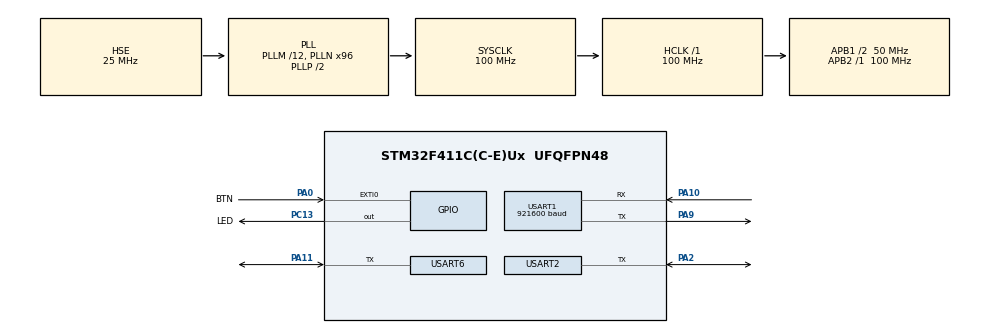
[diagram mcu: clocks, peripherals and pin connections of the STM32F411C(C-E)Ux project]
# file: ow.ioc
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Mcu.Family=STM32F4
Mcu.Name=STM32F411C(C-E)Ux
Mcu.Package=UFQFPN48
NVIC.EXTI0_IRQn=true\:0\:0\:false\:false\:true\:true\:true\:true
NVIC.PriorityGroup=NVIC_PRIORITYGROUP_4
PA0-WKUP.GPIO_Label=BTN
PA0-WKUP.GPIO_ModeDefaultEXTI=GPIO_MODE_IT_FALLING
PA0-WKUP.GPIO_PuPd=GPIO_PULLUP
PA0-WKUP.Signal=GPXTI0
PA10.Mode=Asynchronous
PA10.Signal=USART1_RX
PA11.GPIO_PuPd=GPIO_PULLUP
PA11.Mode=Half_duplex(single_wire_mode)
PA11.Signal=USART6_TX
PA13.Mode=Serial_Wire
PA13.Signal=SYS_JTMS-SWDIO
PA14.Mode=Serial_Wire
PA14.Signal=SYS_JTCK-SWCLK
PA2.GPIO_PuPd=GPIO_PULLUP
PA2.Mode=Half_duplex(single_wire_mode)
PA2.Signal=USART2_TX
PA9.Mode=Asynchronous
PA9.Signal=USART1_TX
PC13-ANTI_TAMP.GPIO_Label=LED
PC13-ANTI_TAMP.GPIO_ModeDefaultOutputPP=GPIO_MODE_OUTPUT_OD
PC13-ANTI_TAMP.GPIO_PuPd=GPIO_NOPULL
PC13-ANTI_TAMP.PinState=GPIO_PIN_SET
PC13-ANTI_TAMP.Signal=GPIO_Output
PH0\ -\ OSC_IN.Mode=HSE-External-Oscillator
PH0\ -\ OSC_IN.Signal=RCC_OSC_IN
PH1\ -\ OSC_OUT.Mode=HSE-External-Oscillator
PH1\ -\ OSC_OUT.Signal=RCC_OSC_OUT
ProjectManager.HeapSize=0x200
ProjectManager.StackSize=0x400
ProjectManager.TargetToolchain=STM32CubeIDE
RCC.48MHZClocksFreq_Value=50000000
RCC.AHBFreq_Value=100000000
RCC.APB1CLKDivider=RCC_HCLK_DIV2
RCC.APB1Freq_Value=50000000
RCC.APB1TimFreq_Value=100000000
RCC.APB2Freq_Value=100000000
RCC.APB2TimFreq_Value=100000000
RCC.CortexFreq_Value=100000000
RCC.HCLKFreq_Value=100000000
RCC.HSE_VALUE=25000000
RCC.HSI_VALUE=16000000
RCC.LSE_VALUE=32768
RCC.PLLM=12
RCC.PLLN=96
RCC.PLLSourceVirtual=RCC_PLLSOURCE_HSE
RCC.SYSCLKFreq_VALUE=100000000
RCC.SYSCLKSource=RCC_SYSCLKSOURCE_PLLCLK
RCC.VCOOutputFreq_Value=200000000
USART1.BaudRate=921600
USART1.VirtualMode=VM_ASYNC
USART2.VirtualMode=VM_ASYNC
USART6.VirtualMode=VM_ASYNC
board=custom

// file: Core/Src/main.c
/* USER CODE BEGIN Header */
/**
 ******************************************************************************
 * @file           : main.c
 * @brief          : Main program body
 ******************************************************************************
 * @attention
 *
 * Copyright (c) 2023 Lars Boegild Thomsen <lbthomsen@gmail.com>
 * All rights reserved.
 *
 * This software is licensed under terms that can be found in the LICENSE file
 * in the root directory of this software component.
 * If no LICENSE file comes with this software, it is provided AS-IS.
 *
 ******************************************************************************
 */
/* USER CODE END Header */
#include "main.h"

UART_HandleTypeDef huart1;
UART_HandleTypeDef huart2;
UART_HandleTypeDef huart6;

void SystemClock_Config(void);
static void MX_GPIO_Init(void);
static void MX_USART1_UART_Init(void);
static void MX_USART2_UART_Init(void);
static void MX_USART6_UART_Init(void);

/* USER CODE BEGIN 0 */

// Send printf to uart1
int _write(int fd, char* ptr, int len) {
  HAL_StatusTypeDef hstatus;

  if (fd == 1 || fd == 2) {
    hstatus = HAL_UART_Transmit(&huart1, (uint8_t *) ptr, len, HAL_MAX_DELAY);
    if (hstatus == HAL_OK)
      return len;
    else
      return -1;
  }
  return -1;
}

/* USER CODE END 0 */

int main(void)
{

  /* MCU Configuration--------------------------------------------------------*/

  /* Reset of all peripherals, Initializes the Flash interface and the Systick. */
  HAL_Init();

  /* Configure the system clock */
  SystemClock_Config();

  /* Initialize all configured peripherals */
  MX_GPIO_Init();
  MX_USART1_UART_Init();
  MX_USART2_UART_Init();
  MX_USART6_UART_Init();
  /* USER CODE BEGIN 2 */

  DBG("\n\n\n\n--------\nStarting");

  /* USER CODE END 2 */

  /* Infinite loop */
  /* USER CODE BEGIN WHILE */

  uint32_t now = 0, last_blink = 0;

    while (1) {

        now = HAL_GetTick();

        if (now - last_blink >= 500) {

            HAL_GPIO_TogglePin(LED_GPIO_Port, LED_Pin);

            last_blink = now;

        }

    /* USER CODE END WHILE */

    }
}

void SystemClock_Config(void)
{
  RCC_OscInitTypeDef RCC_OscInitStruct = {0};
  RCC_ClkInitTypeDef RCC_ClkInitStruct = {0};

  /** Configure the main internal regulator output voltage
  */
  __HAL_RCC_PWR_CLK_ENABLE();
  __HAL_PWR_VOLTAGESCALING_CONFIG(PWR_REGULATOR_VOLTAGE_SCALE1);

  /** Initializes the RCC Oscillators according to the specified parameters
  * in the RCC_OscInitTypeDef structure.
  */
  RCC_OscInitStruct.OscillatorType = RCC_OSCILLATORTYPE_HSE;
  RCC_OscInitStruct.HSEState = RCC_HSE_ON;
  RCC_OscInitStruct.PLL.PLLState = RCC_PLL_ON;
  RCC_OscInitStruct.PLL.PLLSource = RCC_PLLSOURCE_HSE;
  RCC_OscInitStruct.PLL.PLLM = 12;
  RCC_OscInitStruct.PLL.PLLN = 96;
  RCC_OscInitStruct.PLL.PLLP = RCC_PLLP_DIV2;
  RCC_OscInitStruct.PLL.PLLQ = 4;
  if (HAL_RCC_OscConfig(&RCC_OscInitStruct) != HAL_OK)
  {
    Error_Handler();
  }

  /** Initializes the CPU, AHB and APB buses clocks
  */
  RCC_ClkInitStruct.ClockType = RCC_CLOCKTYPE_HCLK|RCC_CLOCKTYPE_SYSCLK
                              |RCC_CLOCKTYPE_PCLK1|RCC_CLOCKTYPE_PCLK2;
  RCC_ClkInitStruct.SYSCLKSource = RCC_SYSCLKSOURCE_PLLCLK;
  RCC_ClkInitStruct.AHBCLKDivider = RCC_SYSCLK_DIV1;
  RCC_ClkInitStruct.APB1CLKDivider = RCC_HCLK_DIV2;
  RCC_ClkInitStruct.APB2CLKDivider = RCC_HCLK_DIV1;

  if (HAL_RCC_ClockConfig(&RCC_ClkInitStruct, FLASH_LATENCY_3) != HAL_OK)
  {
    Error_Handler();
  }
}

static void MX_USART1_UART_Init(void)
{

  huart1.Instance = USART1;
  huart1.Init.BaudRate = 921600;
  huart1.Init.WordLength = UART_WORDLENGTH_8B;
  huart1.Init.StopBits = UART_STOPBITS_1;
  huart1.Init.Parity = UART_PARITY_NONE;
  huart1.Init.Mode = UART_MODE_TX_RX;
  huart1.Init.HwFlowCtl = UART_HWCONTROL_NONE;
  huart1.Init.OverSampling = UART_OVERSAMPLING_16;
  if (HAL_UART_Init(&huart1) != HAL_OK)
  {
    Error_Handler();
  }

}

static void MX_USART2_UART_Init(void)
{

  huart2.Instance = USART2;
  huart2.Init.BaudRate = 115200;
  huart2.Init.WordLength = UART_WORDLENGTH_8B;
  huart2.Init.StopBits = UART_STOPBITS_1;
  huart2.Init.Parity = UART_PARITY_NONE;
  huart2.Init.Mode = UART_MODE_TX_RX;
  huart2.Init.HwFlowCtl = UART_HWCONTROL_NONE;
  huart2.Init.OverSampling = UART_OVERSAMPLING_16;
  if (HAL_HalfDuplex_Init(&huart2) != HAL_OK)
  {
    Error_Handler();
  }

}

static void MX_USART6_UART_Init(void)
{

  huart6.Instance = USART6;
  huart6.Init.BaudRate = 115200;
  huart6.Init.WordLength = UART_WORDLENGTH_8B;
  huart6.Init.StopBits = UART_STOPBITS_1;
  huart6.Init.Parity = UART_PARITY_NONE;
  huart6.Init.Mode = UART_MODE_TX_RX;
  huart6.Init.HwFlowCtl = UART_HWCONTROL_NONE;
  huart6.Init.OverSampling = UART_OVERSAMPLING_16;
  if (HAL_HalfDuplex_Init(&huart6) != HAL_OK)
  {
    Error_Handler();
  }

}

static void MX_GPIO_Init(void)
{
  GPIO_InitTypeDef GPIO_InitStruct = {0};

  /* GPIO Ports Clock Enable */
  __HAL_RCC_GPIOC_CLK_ENABLE();
  __HAL_RCC_GPIOH_CLK_ENABLE();
  __HAL_RCC_GPIOA_CLK_ENABLE();

  /*Configure GPIO pin Output Level */
  HAL_GPIO_WritePin(LED_GPIO_Port, LED_Pin, GPIO_PIN_SET);

  /*Configure GPIO pin : LED_Pin */
  GPIO_InitStruct.Pin = LED_Pin;
  GPIO_InitStruct.Mode = GPIO_MODE_OUTPUT_OD;
  GPIO_InitStruct.Pull = GPIO_NOPULL;
  GPIO_InitStruct.Speed = GPIO_SPEED_FREQ_LOW;
  HAL_GPIO_Init(LED_GPIO_Port, &GPIO_InitStruct);

  /*Configure GPIO pin : BTN_Pin */
  GPIO_InitStruct.Pin = BTN_Pin;
  GPIO_InitStruct.Mode = GPIO_MODE_IT_FALLING;
  GPIO_InitStruct.Pull = GPIO_PULLUP;
  HAL_GPIO_Init(BTN_GPIO_Port, &GPIO_InitStruct);

  /* EXTI interrupt init*/
  HAL_NVIC_SetPriority(EXTI0_IRQn, 0, 0);
  HAL_NVIC_EnableIRQ(EXTI0_IRQn);

}

void Error_Handler(void)
{
    __disable_irq();
    while (1) {
    }
}
